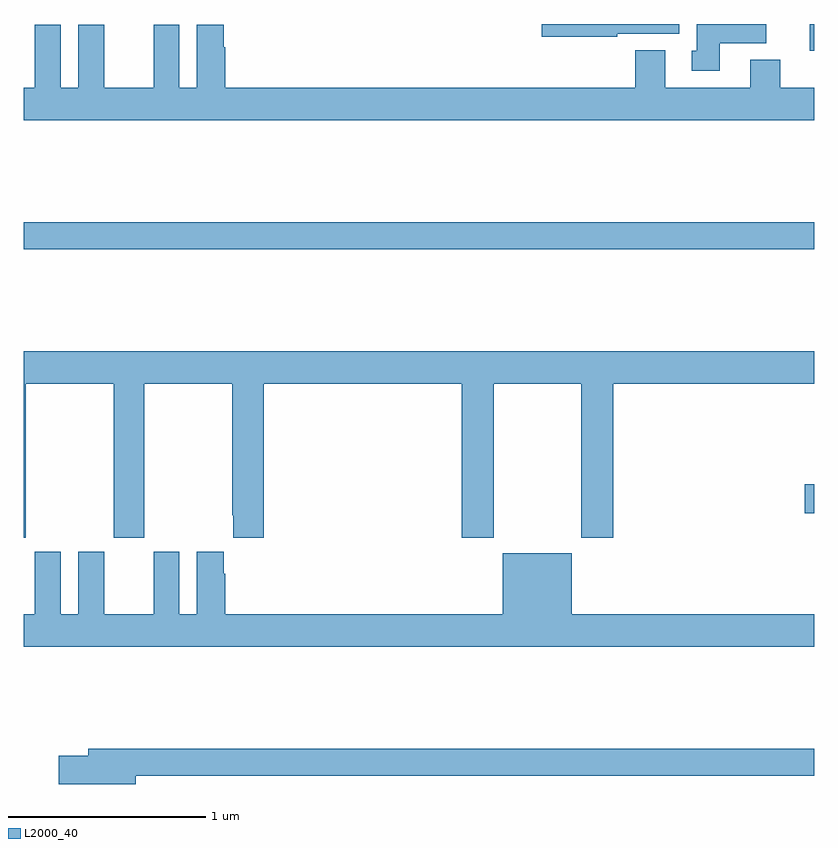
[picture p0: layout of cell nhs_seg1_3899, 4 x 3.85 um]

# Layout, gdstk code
import gdstk
lib = gdstk.Library(unit=1e-6, precision=1e-09)
def R(c, l, rs):  # rectangles x0, y0, x1, y1
    for r in rs: c.add(gdstk.rectangle(r[:2], r[2:], *l))
def P(c, l, *ps):  # polygons
    for p in ps: c.add(gdstk.Polygon(p, *l))
L2000_40 = (2000, 40)

nhs_seg1_3899 = lib.new_cell('nhs_seg1_3899')
R(nhs_seg1_3899, L2000_40, [(326.952,569.723,327,569.87), (323,571.06,327,571.196), (326.978,572.064,327,572.199)])
P(nhs_seg1_3899, L2000_40, [(326.521,572.102),(326.757,572.102),(326.757,572.199),(326.405,572.199),(326.405,572.064),(326.381,572.064),(326.381,571.962),(326.521,571.962)],
  [(326.004,572.15),(326.317,572.15),(326.317,572.199),(325.62,572.199),(325.62,572.135),(326.004,572.135)],
  [(326.675,572.017),(326.675,571.876),(326.245,571.876),(326.245,572.065),(326.093,572.065),(326.093,571.876),(324.02,571.876),(324.02,572.081),(324.013,572.081),(324.013,572.194),(323.876,572.194),(323.876,571.876),(323.788,571.876),(323.788,572.194),(323.657,572.194),(323.657,571.876),(323.407,571.876),(323.407,572.194),(323.276,572.194),(323.276,571.876),(323.188,571.876),(323.188,572.194),(323.057,572.194),(323.057,571.876),(323,571.876),(323,571.712),(327,571.712),(327,571.876),(326.828,571.876),(326.828,572.017)],
  [(323.01,570.38),(323.455,570.38),(323.455,569.601),(323.61,569.601),(323.61,570.38),(324.055,570.38),(324.055,569.713),(324.059,569.713),(324.059,569.601),(324.215,569.601),(324.215,570.38),(325.217,570.38),(325.217,569.601),(325.377,569.601),(325.377,570.38),(325.822,570.38),(325.822,569.601),(325.982,569.601),(325.982,570.38),(327,570.38),(327,570.544),(323,570.544),(323,569.601),(323.01,569.601)],
  [(327,569.212),(325.774,569.212),(325.774,569.521),(325.424,569.521),(325.424,569.212),(324.02,569.212),(324.02,569.417),(324.013,569.417),(324.013,569.53),(323.876,569.53),(323.876,569.212),(323.788,569.212),(323.788,569.53),(323.657,569.53),(323.657,569.212),(323.407,569.212),(323.407,569.53),(323.276,569.53),(323.276,569.212),(323.188,569.212),(323.188,569.53),(323.057,569.53),(323.057,569.212),(323,569.212),(323,569.048),(327,569.048)],
  [(323.566,568.396),(327,568.396),(327,568.532),(323.327,568.532),(323.327,568.496),(323.178,568.496),(323.178,568.354),(323.566,568.354)])

lib.write_gds('nhs_seg1_3899.gds')
